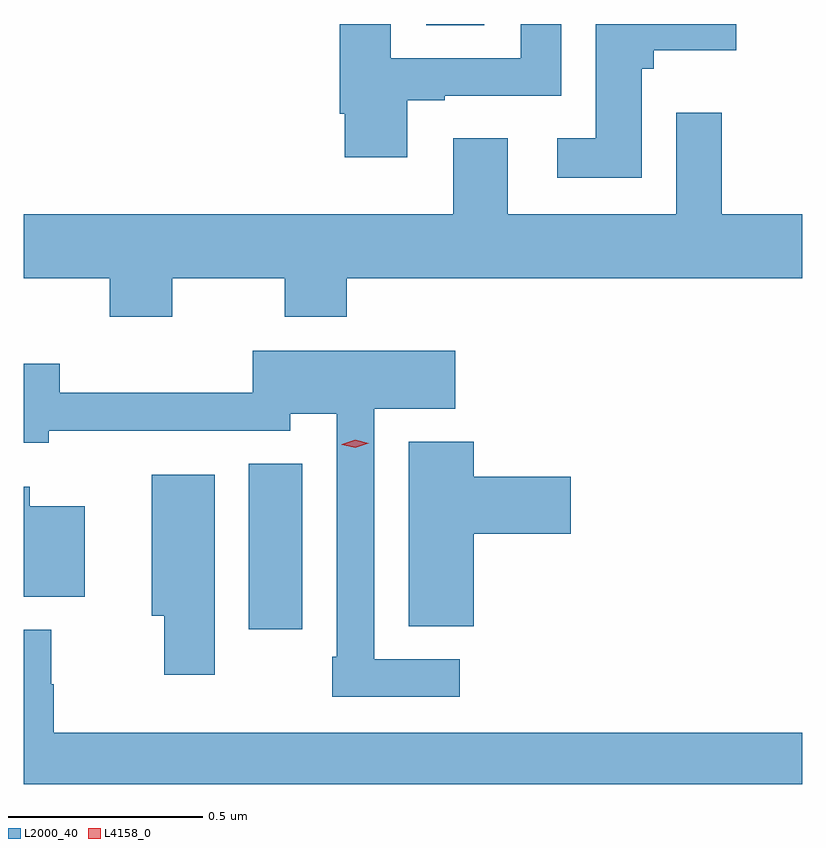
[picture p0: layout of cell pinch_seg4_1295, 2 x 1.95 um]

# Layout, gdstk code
import gdstk
lib = gdstk.Library(unit=1e-6, precision=1e-09)
def R(c, l, rs):  # rectangles x0, y0, x1, y1
    for r in rs: c.add(gdstk.rectangle(r[:2], r[2:], *l))
def P(c, l, *ps):  # polygons
    for p in ps: c.add(gdstk.Polygon(p, *l))
L2000_40 = (2000, 40)
L4158_0 = (4158, 0)

pinch_seg4_1295 = lib.new_cell('pinch_seg4_1295')
R(pinch_seg4_1295, L2000_40, [(246.158,749.298,246.295,749.723), (246.614,750.85,246.763,750.853)])
P(pinch_seg4_1295, L2000_40, [(246.565,750.657),(246.661,750.657),(246.661,750.669),(246.961,750.669),(246.961,750.853),(246.857,750.853),(246.857,750.765),(246.523,750.765),(246.523,750.853),(246.392,750.853),(246.392,750.622),(246.404,750.622),(246.404,750.51),(246.565,750.51)],
  [(247.168,750.738),(247.199,750.738),(247.199,750.785),(247.411,750.785),(247.411,750.853),(247.049,750.853),(247.049,750.559),(246.951,750.559),(246.951,750.458),(247.168,750.458)],
  [(245.961,750.2),(246.25,750.2),(246.25,750.101),(246.41,750.101),(246.41,750.2),(247.58,750.2),(247.58,750.364),(247.373,750.364),(247.373,750.625),(247.257,750.625),(247.257,750.364),(246.823,750.364),(246.823,750.559),(246.683,750.559),(246.683,750.364),(245.58,750.364),(245.58,750.2),(245.801,750.2),(245.801,750.101),(245.961,750.101)],
  [(246.7,749.22),(246.48,749.22),(246.48,749.864),(246.688,749.864),(246.688,750.013),(246.168,750.013),(246.168,749.906),(245.672,749.906),(245.672,749.98),(245.58,749.98),(245.58,749.777),(245.644,749.777),(245.644,749.808),(246.264,749.808),(246.264,749.852),(246.384,749.852),(246.384,749.227),(246.372,749.227),(246.372,749.124),(246.7,749.124)],
  [(246.736,749.543),(246.985,749.543),(246.985,749.69),(246.736,749.69),(246.736,749.779),(246.569,749.779),(246.569,749.305),(246.736,749.305)],
  [(246.07,749.695),(245.909,749.695),(245.909,749.333),(245.941,749.333),(245.941,749.181),(246.07,749.181)],
  [(245.737,749.614),(245.595,749.614),(245.595,749.664),(245.58,749.664),(245.58,749.381),(245.737,749.381)],
  [(245.58,749.296),(245.58,748.9),(247.58,748.9),(247.58,749.032),(245.657,749.032),(245.657,749.156),(245.65,749.156),(245.65,749.296)])
P(pinch_seg4_1295, L4158_0, [(246.432,749.764),(246.397,749.772),(246.397,749.773),(246.397,749.773),(246.431,749.784),(246.466,749.775),(246.466,749.775),(246.466,749.775)])

lib.write_gds('pinch_seg4_1295.gds')
